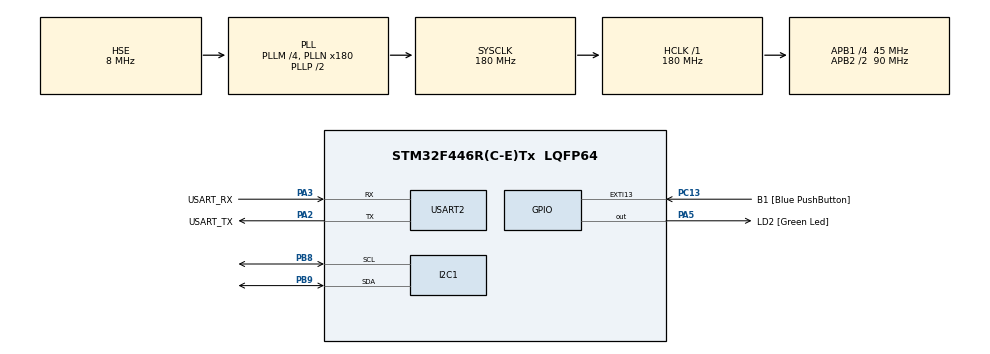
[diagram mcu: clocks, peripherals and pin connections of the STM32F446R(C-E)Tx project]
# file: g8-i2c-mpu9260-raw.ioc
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I2C1.I2C_Mode=I2C_Fast
Mcu.Family=STM32F4
Mcu.Name=STM32F446R(C-E)Tx
Mcu.Package=LQFP64
NVIC.PriorityGroup=NVIC_PRIORITYGROUP_0
PA13.GPIO_Label=TMS
PA13.Mode=Serial_Wire
PA13.Signal=SYS_JTMS-SWDIO
PA14.GPIO_Label=TCK
PA14.Mode=Serial_Wire
PA14.Signal=SYS_JTCK-SWCLK
PA2.GPIO_Label=USART_TX
PA2.Mode=Asynchronous
PA2.Signal=USART2_TX
PA3.GPIO_Label=USART_RX
PA3.Mode=Asynchronous
PA3.Signal=USART2_RX
PA5.GPIO_Label=LD2 [Green Led]
PA5.Signal=GPIO_Output
PB3.GPIO_Label=SWO
PB3.Signal=SYS_JTDO-SWO
PB8.Mode=I2C
PB8.Signal=I2C1_SCL
PB9.Mode=I2C
PB9.Signal=I2C1_SDA
PC13.GPIO_Label=B1 [Blue PushButton]
PC13.GPIO_ModeDefaultEXTI=GPIO_MODE_IT_FALLING
PC13.Signal=GPXTI13
PC14-OSC32_IN.Signal=RCC_OSC32_IN
PC15-OSC32_OUT.Signal=RCC_OSC32_OUT
PH0-OSC_IN.Mode=HSE-External-Oscillator
PH0-OSC_IN.Signal=RCC_OSC_IN
PH1-OSC_OUT.Mode=HSE-External-Oscillator
PH1-OSC_OUT.Signal=RCC_OSC_OUT
ProjectManager.HeapSize=0x200
ProjectManager.StackSize=0x400
ProjectManager.TargetToolchain=SW4STM32
RCC.48MHZClocksFreq_Value=84000000
RCC.AHBFreq_Value=180000000
RCC.APB1CLKDivider=RCC_HCLK_DIV4
RCC.APB1Freq_Value=45000000
RCC.APB1TimFreq_Value=90000000
RCC.APB2CLKDivider=RCC_HCLK_DIV2
RCC.APB2Freq_Value=90000000
RCC.APB2TimFreq_Value=180000000
RCC.CortexFreq_Value=180000000
RCC.FLatency-AdvancedSettings=FLASH_LATENCY_5
RCC.HCLKFreq_Value=180000000
RCC.HSE_VALUE=8000000
RCC.HSI_VALUE=16000000
RCC.PLLM=4
RCC.PLLN=180
RCC.PLLSourceVirtual=RCC_PLLSOURCE_HSE
RCC.SYSCLKFreq_VALUE=180000000
RCC.SYSCLKSource=RCC_SYSCLKSOURCE_PLLCLK
RCC.USBFreq_Value=180000000
RCC.VCOOutputFreq_Value=360000000
USART2.VirtualMode=VM_ASYNC
board=NUCLEO-F446RE

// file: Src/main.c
/**
  ******************************************************************************
  * @file           : main.c
  * @brief          : Main program body
  ******************************************************************************
  ** This notice applies to any and all portions of this file
  * that are not between comment pairs USER CODE BEGIN and
  * USER CODE END. Other portions of this file, whether
  * inserted by the user or by software development tools
  * are owned by their respective copyright owners.
  *
  * COPYRIGHT(c) 2018 STMicroelectronics
  *
  * Redistribution and use in source and binary forms, with or without modification,
  * are permitted provided that the following conditions are met:
  *   1. Redistributions of source code must retain the above copyright notice,
  *      this list of conditions and the following disclaimer.
  *   2. Redistributions in binary form must reproduce the above copyright notice,
  *      this list of conditions and the following disclaimer in the documentation
  *      and/or other materials provided with the distribution.
  *   3. Neither the name of STMicroelectronics nor the names of its contributors
  *      may be used to endorse or promote products derived from this software
  *      without specific prior written permission.
  *
  * THIS SOFTWARE IS PROVIDED BY THE COPYRIGHT HOLDERS AND CONTRIBUTORS "AS IS"
  * AND ANY EXPRESS OR IMPLIED WARRANTIES, INCLUDING, BUT NOT LIMITED TO, THE
  * IMPLIED WARRANTIES OF MERCHANTABILITY AND FITNESS FOR A PARTICULAR PURPOSE ARE
  * DISCLAIMED. IN NO EVENT SHALL THE COPYRIGHT HOLDER OR CONTRIBUTORS BE LIABLE
  * FOR ANY DIRECT, INDIRECT, INCIDENTAL, SPECIAL, EXEMPLARY, OR CONSEQUENTIAL
  * DAMAGES (INCLUDING, BUT NOT LIMITED TO, PROCUREMENT OF SUBSTITUTE GOODS OR
  * SERVICES; LOSS OF USE, DATA, OR PROFITS; OR BUSINESS INTERRUPTION) HOWEVER
  * CAUSED AND ON ANY THEORY OF LIABILITY, WHETHER IN CONTRACT, STRICT LIABILITY,
  * OR TORT (INCLUDING NEGLIGENCE OR OTHERWISE) ARISING IN ANY WAY OUT OF THE USE
  * OF THIS SOFTWARE, EVEN IF ADVISED OF THE POSSIBILITY OF SUCH DAMAGE.
  *
  ******************************************************************************
  */
#include "main.h"
#include "stm32f4xx_hal.h"
#include "i2c.h"
#include "usart.h"
#include "gpio.h"

/* USER CODE BEGIN Includes */

#include "lcd.h"
#include "mpu.h"
#include "MadgwickAHRS.h"

/* USER CODE END Includes */

/* USER CODE BEGIN PV */
/* Private variables ---------------------------------------------------------*/

/* Variables for all measurements */
int16_t acc[3] = { };
int16_t gyro[3] = { };
int16_t mag[3] = { };
uint16_t accScale = 0;
float gyroScale = 0.f;
float magScale = 32760.0f / 4912.0f;
float ax, ay, az;
float gx, gy, gz;
float mx, my, mz;
/* Timestamp & status variables */
int16_t intStatus;
uint32_t lastTime, currentTime, drawTime;

/* USER CODE END PV */

void SystemClock_Config(void);

/* USER CODE BEGIN PFP */
/* Private function prototypes -----------------------------------------------*/

/* USER CODE END PFP */

int main(void)
{

  /* MCU Configuration----------------------------------------------------------*/

  /* Reset of all peripherals, Initializes the Flash interface and the Systick. */
  HAL_Init();

  /* Configure the system clock */
  SystemClock_Config();

  /* Initialize all configured peripherals */
  MX_GPIO_Init();
  MX_USART2_UART_Init();
  MX_I2C1_Init();
  /* USER CODE BEGIN 2 */
  LCD_Init();

   /* Start MPU9250 and change settings */
   mpu_i2c_init(&hi2c1);
   if (mpu_init(NULL)) {
  	  LCD_Printf("MPU9250 Init failed. Program terminated");
  	  return 0;
    }
  	mpu_set_sensors(INV_XYZ_GYRO | INV_XYZ_ACCEL | INV_XYZ_COMPASS);
  	mpu_set_sample_rate(500);
  	mpu_get_accel_sens(&accScale);
  	mpu_get_gyro_sens(&gyroScale);
  	LCD_Printf("Connection successful!\n\n");

  	/* Init Madgwick filter */
  	Madgwick_init();
  	lastTime = drawTime = HAL_GetTick();

  /* USER CODE END 2 */

  /* Infinite loop */
  while (1)
  {

  /* USER CODE BEGIN 3 */
	  /* Get current mpu chip status */
	  		mpu_get_int_status(&intStatus);
	  		if (intStatus & MPU_INT_STATUS_DATA_READY) {
	  			/* Get all raw measurements */
	  			mpu_get_accel_reg(acc, 0);
	  			mpu_get_gyro_reg(gyro, 0);
	  			mpu_get_compass_reg(mag, 0);
	  			/* Convert to real units */
	  			ax = (float) (acc[0]) / accScale;
	  			ay = (float) (acc[1]) / accScale;
	  			az = (float) (acc[2]) / accScale;
	  			gx = gyro[0] / gyroScale;
	  			gy = gyro[1] / gyroScale;
	  			gz = gyro[2] / gyroScale;
	  			mx = mag[1] / magScale;
	  			my = mag[0] / magScale;
	  			mz = - mag[2] / magScale;
	  			/* Do data processing by Madgwick filter */
	  			currentTime = HAL_GetTick();
	  			Madgwick_update(gx, gy, gz, ax, ay, az, mx, my, mz, (currentTime - lastTime) / 1000.0);
	  			lastTime = currentTime;
	  		}
	  		/* Draw data on screen every 20ms */
	  		if (HAL_GetTick() - drawTime > 20) {
	  			LCD_SetCursor(0, 0);
	  			LCD_Printf("Accel:   %7.4f %7.4f %7.4f\n", ax, ay, az);
	  			LCD_Printf("Gyro:    %7.4f %7.4f %7.4f\n", gx, gy, gz);
	  			LCD_Printf("Compass: %7.1f %7.1f %7.1f\n", mx, my, mz);
	  			LCD_Printf("Madgwick: P: %5.1f R: %5.1f Y: %5.1f\n", Madgwick_getPitch(), Madgwick_getRoll(), Madgwick_getYaw());
	  			drawTime = HAL_GetTick();
	  		}

  }
  /* USER CODE END 3 */

}

void SystemClock_Config(void)
{

  RCC_OscInitTypeDef RCC_OscInitStruct;
  RCC_ClkInitTypeDef RCC_ClkInitStruct;

    /**Configure the main internal regulator output voltage
    */
  __HAL_RCC_PWR_CLK_ENABLE();

  __HAL_PWR_VOLTAGESCALING_CONFIG(PWR_REGULATOR_VOLTAGE_SCALE1);

    /**Initializes the CPU, AHB and APB busses clocks
    */
  RCC_OscInitStruct.OscillatorType = RCC_OSCILLATORTYPE_HSE;
  RCC_OscInitStruct.HSEState = RCC_HSE_ON;
  RCC_OscInitStruct.PLL.PLLState = RCC_PLL_ON;
  RCC_OscInitStruct.PLL.PLLSource = RCC_PLLSOURCE_HSE;
  RCC_OscInitStruct.PLL.PLLM = 4;
  RCC_OscInitStruct.PLL.PLLN = 180;
  RCC_OscInitStruct.PLL.PLLP = RCC_PLLP_DIV2;
  RCC_OscInitStruct.PLL.PLLQ = 2;
  RCC_OscInitStruct.PLL.PLLR = 2;
  if (HAL_RCC_OscConfig(&RCC_OscInitStruct) != HAL_OK)
  {
    _Error_Handler(__FILE__, __LINE__);
  }

    /**Activate the Over-Drive mode
    */
  if (HAL_PWREx_EnableOverDrive() != HAL_OK)
  {
    _Error_Handler(__FILE__, __LINE__);
  }

    /**Initializes the CPU, AHB and APB busses clocks
    */
  RCC_ClkInitStruct.ClockType = RCC_CLOCKTYPE_HCLK|RCC_CLOCKTYPE_SYSCLK
                              |RCC_CLOCKTYPE_PCLK1|RCC_CLOCKTYPE_PCLK2;
  RCC_ClkInitStruct.SYSCLKSource = RCC_SYSCLKSOURCE_PLLCLK;
  RCC_ClkInitStruct.AHBCLKDivider = RCC_SYSCLK_DIV1;
  RCC_ClkInitStruct.APB1CLKDivider = RCC_HCLK_DIV4;
  RCC_ClkInitStruct.APB2CLKDivider = RCC_HCLK_DIV2;

  if (HAL_RCC_ClockConfig(&RCC_ClkInitStruct, FLASH_LATENCY_5) != HAL_OK)
  {
    _Error_Handler(__FILE__, __LINE__);
  }

    /**Configure the Systick interrupt time
    */
  HAL_SYSTICK_Config(HAL_RCC_GetHCLKFreq()/1000);

    /**Configure the Systick
    */
  HAL_SYSTICK_CLKSourceConfig(SYSTICK_CLKSOURCE_HCLK);

  /* SysTick_IRQn interrupt configuration */
  HAL_NVIC_SetPriority(SysTick_IRQn, 0, 0);
}

void _Error_Handler(char *file, int line)
{
  while(1)
  {
  }
}

/************************ (C) COPYRIGHT STMicroelectronics *****END OF FILE****/
